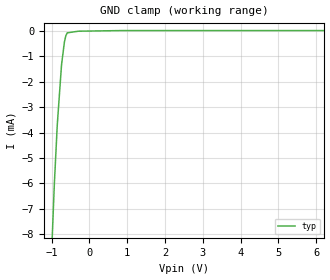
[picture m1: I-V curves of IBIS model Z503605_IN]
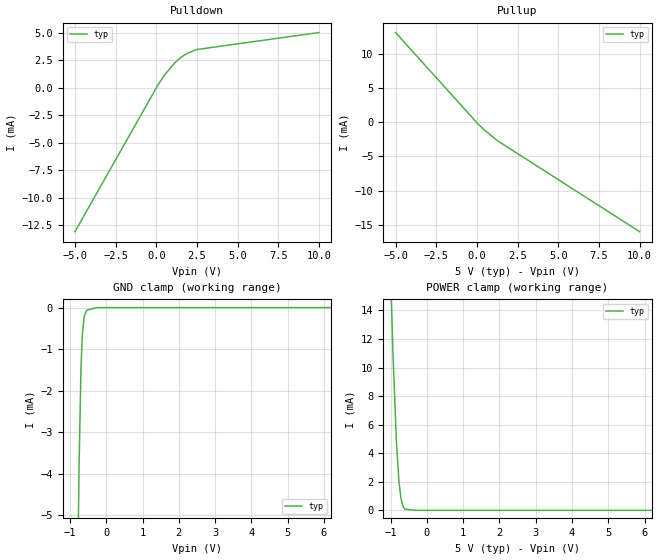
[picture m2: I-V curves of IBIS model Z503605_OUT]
| YOU ARE ONLY AUTHORIZED TO USE THIS SOFTWARE
| ACCORDING TO LICENSOR'S LICENSE RESTRICTIONS.
[IBIS Ver] 3.1
[File Name] mc14504bcl.ibs
[File Rev] 2.0
[Source] Measured and created by ICX Technology
[Date] Friday 7/14/00 9:07:55 AM
[Copyright]
| (C) COPYRIGHT 1993-2000
| MENTOR GRAPHICS CORPORATION
| ICX STANDARD LIBRARY, ICX PROJECT MODELING,
| ICX CUSTOM MODELING, ICX VENDOR MODEL
| ALL RIGHTS RESERVED.
| THE FOLLOWING ARE TRADEMARKS OR SERVICE MARKS OF
| MENTOR GRAPHICS CORPORATION:ICX (R), ICX STANDARD
| LIBRARY(R), ICX PROJECT MODELING(R), ICX CUSTOM
| MODELING(R), qualityIBIS(TM), MODELVIEWER(TM),
| AND MODELEDITOR(TM)
| ALL COPIES OF SOFTWARE, INCLUDING BUT NOT LIMITED TO
| ANY MODIFICATIONS, ENHANCEMENTS OR DERIVATIVE WORKS,
| MUST CONTAIN ALL MENTOR GRAPHICS CORPORATION'S
| NOTICES AND LEGENDS, INCLUDING THOSE EMBEDDED IN
| SOFTWARE AND THOSE AFFIXED TO SOFTWARE MEDIUM
| AND CONTAINER, AS RECEIVED FROM MENTOR GRAPHICS
| CORPORATION.
|  ZAP Model Builder 2.7
[Component] MC14504BCL
[Manufacturer] OnSemiconductor
[Package]
| variable   typ   min   max
R_pkg  .212ohms NA NA
L_pkg  4.758nH NA NA
C_pkg  1.944pF NA NA
[Pin] signal_name  model_name  R_pin  L_pin C_pin
1 VCC POWER .224 7.258n 2.683p
2 AOUT Z503605_OUT .216 5.258n 2.19p
3 AIN Z503605_IN .208 3.758n 1.697p
4 BOUT Z503605_OUT .2 2.758n 1.204p
5 BIN Z503605_IN .2 2.758n 1.204p
6 COUT Z503605_OUT .208 3.758n 1.697p
7 CIN Z503605_IN .216 5.258n 2.19p
8 VSS POWER .224 7.258n 2.683p
9 DIN Z503605_IN .224 7.258n 2.683p
10 DOUT Z503605_OUT .216 5.258n 2.19p
11 EIN Z503605_IN .208 3.758n 1.697p
12 EOUT Z503605_OUT .2 2.758n 1.204p
13 MODE Z503605_IN .2 2.758n 1.204p
14 FIN Z503605_IN .208 3.758n 1.697p
15 FOUT Z503605_OUT .216 5.258n 2.19p
16 VDD POWER .224 7.258n 2.683p
| Models and submodels in the file (2): Z503605_IN (Input), Z503605_OUT (Output)
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| (C) COPYRIGHT 1993-2000
| MENTOR GRAPHICS CORPORATION
| ICX STANDARD LIBRARY, ICX PROJECT MODELING,
| ICX CUSTOM MODELING, ICX VENDOR MODEL
| ALL RIGHTS RESERVED.
| THE FOLLOWING ARE TRADEMARKS OR SERVICE MARKS OF
| MENTOR GRAPHICS CORPORATION:ICX (R), ICX STANDARD
| LIBRARY(R), ICX PROJECT MODELING(R), ICX CUSTOM
| MODELING(R), qualityIBIS(TM), MODELVIEWER(TM),
| AND MODELEDITOR(TM)
| ALL COPIES OF SOFTWARE, INCLUDING BUT NOT LIMITED TO
| ANY MODIFICATIONS, ENHANCEMENTS OR DERIVATIVE WORKS,
| MUST CONTAIN ALL MENTOR GRAPHICS CORPORATION'S
| NOTICES AND LEGENDS, INCLUDING THOSE EMBEDDED IN
| SOFTWARE AND THOSE AFFIXED TO SOFTWARE MEDIUM
| AND CONTAINER, AS RECEIVED FROM MENTOR GRAPHICS
| CORPORATION.
| Model Application Version 1.89 2/18/99.
[Model] Z503605_IN
Model_type Input
Vinl = 1.500V
Vinh = 3.500V
C_comp 4.000pF NA NA
| variable typ   min   max
[Voltage Range] 5.000V NA NA
[GND Clamp Reference] 0.000V NA NA
[POWER Clamp Reference] 5.000V NA NA
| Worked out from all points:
|   GND clamp passes 1 mA (typ) near -0.71 V on its own axis
[GND Clamp]
-5V       -199.9mA   NA         NA
-1.044V   -10.43mA   NA         NA
-927.5mV  -6.046mA   NA         NA
-849.5mV  -3.695mA   NA         NA
-736.6mV  -1.328mA   NA         NA
-661.3mV  -439.9uA   NA         NA
-625mV    -196.1uA   NA         NA
-586.9mV  -74.29uA   NA         NA
-293.4mV  -8.689uA   NA         NA
864.8mV   16.47uA    NA         NA
10V       16.47uA    NA         NA
[POWER Clamp]
-5V       0A         NA         NA
10V       0A         NA         NA
| (C) COPYRIGHT 1993-2000
| MENTOR GRAPHICS CORPORATION
| ICX STANDARD LIBRARY, ICX PROJECT MODELING,
| ICX CUSTOM MODELING, ICX VENDOR MODEL
| ALL RIGHTS RESERVED.
| THE FOLLOWING ARE TRADEMARKS OR SERVICE MARKS OF
| MENTOR GRAPHICS CORPORATION:ICX (R), ICX STANDARD
| LIBRARY(R), ICX PROJECT MODELING(R), ICX CUSTOM
| MODELING(R), qualityIBIS(TM), MODELVIEWER(TM),
| AND MODELEDITOR(TM)
| ALL COPIES OF SOFTWARE, INCLUDING BUT NOT LIMITED TO
| ANY MODIFICATIONS, ENHANCEMENTS OR DERIVATIVE WORKS,
| MUST CONTAIN ALL MENTOR GRAPHICS CORPORATION'S
| NOTICES AND LEGENDS, INCLUDING THOSE EMBEDDED IN
| SOFTWARE AND THOSE AFFIXED TO SOFTWARE MEDIUM
| AND CONTAINER, AS RECEIVED FROM MENTOR GRAPHICS
| CORPORATION.
| Model Application Version 1.89 2/18/99.
[Model] Z503605_OUT
Model_type Output
Vref=0.000V
Rref=500.0Mohms
Cref=50.00pF
Vmeas=2.500V
C_comp 8.000pF NA NA
| variable typ   min   max
[Voltage Range] 5.000V NA NA
[POWER Clamp Reference] 5.000V NA NA
[Pullup Reference] 5.000V NA NA
[Pulldown Reference] 0.000V NA NA
[GND Clamp Reference] 0.000V NA NA
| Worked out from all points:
|   slope of the pulldown table from 0 to 0.75 V, typ, clamps not added: 468 ohm
|   slope of the pullup table from 0 to 0.75 V, typ, clamps not added: 461 ohm
|   GND clamp passes 1 mA (typ) near -0.68 V on its own axis
|   POWER clamp passes 1 mA (typ) near -0.72 V on its own axis
[GND Clamp]
-5V       -308.5mA   NA         NA
-750.2mV  -3.756mA   NA         NA
-697.7mV  -1.439mA   NA         NA
-662.2mV  -684.5uA   NA         NA
-609.2mV  -202.1uA   NA         NA
-535.4mV  -63.07uA   NA         NA
-267.7mV  0A         NA         NA
10V       0A         NA         NA
[Pulldown]
-5V       -13.08mA   NA         NA
104.3mV   268uA      NA         NA
513.8mV   1.181mA    NA         NA
1.122V    2.255mA    NA         NA
1.494V    2.751mA    NA         NA
1.929V    3.166mA    NA         NA
2.485V    3.478mA    NA         NA
10V       5.024mA    NA         NA
[Pullup]
-5V       13.1mA     NA         NA
44mV      -206.2uA   NA         NA
454mV     -1.144mA   NA         NA
1.274V    -2.73mA    NA         NA
10V       -16mA      NA         NA
[POWER Clamp]
-5V       362.4mA    NA         NA
-936mV    10.92mA    NA         NA
-840mV    4.758mA    NA         NA
-771mV    2.018mA    NA         NA
-720mV    913.2uA    NA         NA
-669mV    329.8uA    NA         NA
-615mV    91.27uA    NA         NA
-307.5mV  0A         NA         NA
10V       0A         NA         NA
[Ramp]
| variable typ min max
dV/dt_r 2.553/14.56n NA NA
dV/dt_f 2.553/9.892n NA NA
R_load = 2.500kOhms
